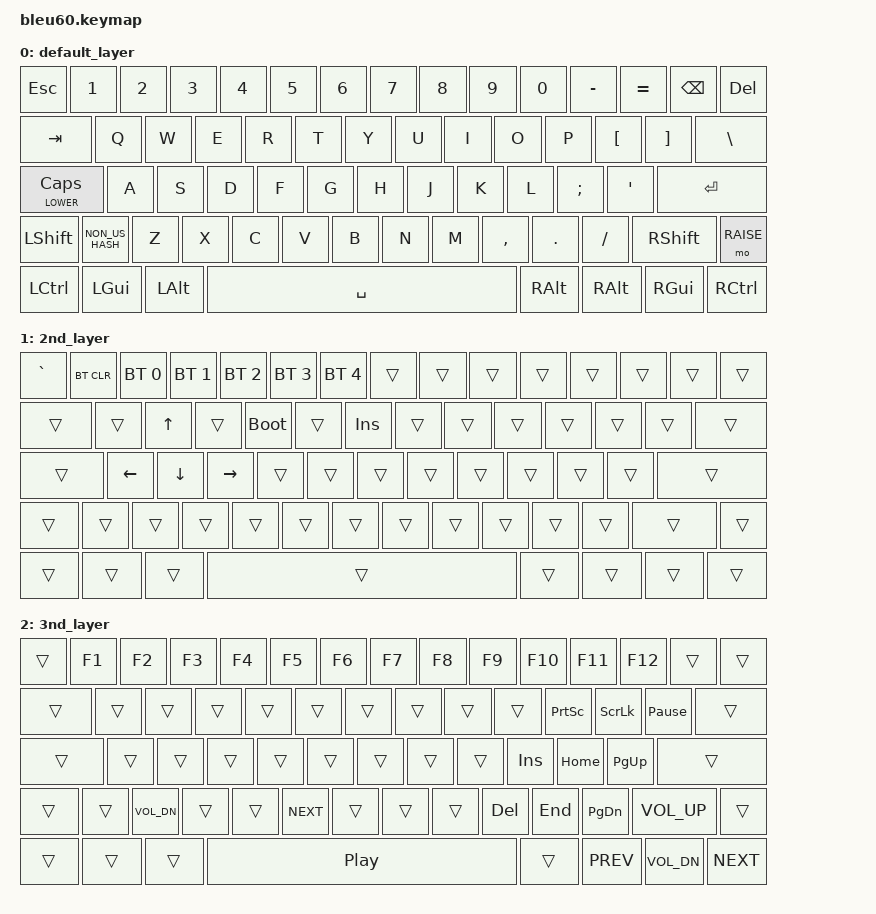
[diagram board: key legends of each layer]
/*
 * Copyright (c) 2020 The ZMK Contributors
 *
 * SPDX-License-Identifier: MIT
 */

#include <behaviors.dtsi>
#include <dt-bindings/zmk/keys.h>
#include <dt-bindings/zmk/bt.h>
#define DEFAULT 0
#define LOWER   1
#define RAISE   2
/ {
	keymap {
		compatible = "zmk,keymap";
		
		default_layer {
// ------------------------------------------------------------------------------------------
// | ESC |  1  |  2  |  3  |  4  |  5  |  6  |  7  |  8  |  9  |  0  |  -  |  =  | BSPC |DEL|
// | TAB  |  Q  |  W  |  E  |  R  |  T  |  Y  |  U  |  I  |  O  |  P  |  [  |  ]  |   "|"   |
// | CAPS  |  A  |  S  |  D  |  F  |  G  |  H  |  J  |  K  |  L  |  ;  |  '  |     ENTER    |
// |  SHIFT  |  Z  |  X  |  C  |  V  |  B  |  N  |  M  |  ,  |  .  |  /  |      SHIFT       |
// |  CTL  |  WIN  |  ALT  |            SPACE              |  ALT  |  WIN  |  MO(1) |  CTL  |
// ------------------------------------------------------------------------------------------
			bindings = <
	&kp ESC         &kp N1     &kp N2   &kp N3 &kp N4 &kp N5    &kp N6 &kp N7 &kp N8 &kp N9    &kp N0   &kp MINUS &kp EQUAL &kp BSPC &kp DEL
	&kp TAB        &kp Q      &kp W    &kp E  &kp R  &kp T     &kp Y  &kp U  &kp I  &kp O     &kp P    &kp LBKT  &kp RBKT  &kp BSLH
	&lt LOWER CLCK &kp A      &kp S    &kp D  &kp F  &kp G     &kp H  &kp J  &kp K  &kp L     &kp SEMI &kp SQT             &kp RET
	&kp LSHFT &kp NON_US_HASH &kp Z    &kp X  &kp C  &kp V     &kp B  &kp N  &kp M  &kp COMMA &kp DOT  &kp FSLH  &kp RSHFT &mo RAISE
	&kp LCTRL &kp LGUI	  &kp LALT               &kp SPACE                      &kp RALT  &kp RALT &kp RGUI   &kp RCTRL
			>;
		};
		
		2nd_layer {
// ------------------------------------------------------------------------------------------
// | boot | BT CLR | BT1 | BT2 | BT3 | BT4 | BT5 | TRNS | TRNS | TRNS | TRNS | TRNS | TRNS |  TRNS  |
// | TRNS | TRNS |  UP  | TRNS | TRNS | TRNS | TRNS | TRNS | TRNS | TRNS | TRNS | TRNS | TRNS | TRNS |
// | TRNS | LEFT | DOWN | RGHT | TRNS | TRNS | TRNS | TRNS | TRNS | TRNS | TRNS | TRNS | TRNS |
// | TRNS | TRNS | TRNS | TRNS | TRNS | TRNS | TRNS | TRNS | TRNS | TRNS | TRNS | TRNS |
// | TRNS  | TRNS  |  TRNS |             TRNS              | TRNS  |  TRNS |  TRNS | TRNS  |
// ------------------------------------------------------------------------------------------
			bindings = <
	&kp GRAVE   &bt BT_CLR &bt BT_SEL 0    &bt BT_SEL 1    &bt BT_SEL 2    &bt BT_SEL 3    &bt BT_SEL 4    &trans &trans &trans &trans &trans &trans &trans &trans 
	&trans      &trans     &kp UP          &trans          &bootloader     &trans          &kp INS         &trans &trans &trans &trans &trans &trans &trans 
	&trans      &kp LEFT   &kp DOWN        &kp RIGHT       &trans          &trans          &trans          &trans &trans &trans &trans &trans &trans 
	&trans      &trans     &trans          &trans          &trans          &trans          &trans          &trans &trans &trans &trans &trans &trans &trans    
	&trans      &trans     &trans                                                          &trans                               &trans &trans &trans &trans   
			>;
		};
		
		3nd_layer {
// ------------------------------------------------------------------------------------------
// | boot | F1 | F2 | F3 | F4 | F5 | F6 | F7 | F8 | F9 | F10 | F11 | F12 |  TRNS  |
// | TRNS | TRNS | TRNS | TRNS | TRNS | TRNS | TRNS | TRNS | TRNS | TRNS | TRNS | TRNS | TRNS | TRNS |
// | TRNS | TRNS | TRNS | TRNS | TRNS | TRNS | TRNS | TRNS | TRNS | TRNS | TRNS | TRNS | TRNS |
// | TRNS | TRNS | VOL_DN | VOL_UP | PREV | NEXT | TRNS | TRNS | TRNS | TRNS | TRNS | TRNS |
// | TRNS  | TRNS  |  TRNS |             PLAY/PAUS              | TRNS  |  TRNS |  TRNS | TRNS  |
// ------------------------------------------------------------------------------------------
			bindings = <
	&trans      &kp F1     &kp F2          &kp F3          &kp F4          &kp F5          &kp F6          &kp F7 &kp F8 &kp F9 &kp F10 &kp F11 &kp F12 &trans &trans 
	&trans      &trans     &trans          &trans          &trans          &trans          &trans          &trans &trans &trans &kp PSCRN &kp SLCK &kp PAUSE_BREAK &trans 
	&trans      &trans     &trans          &trans          &trans          &trans          &trans          &trans &trans &kp INS   &kp HOME &kp PG_UP &trans 
	&trans      &trans     &kp C_VOL_DN    &trans          &trans          &kp C_NEXT      &trans          &trans &trans &kp DEL   &kp END  &kp PG_DN &kp C_VOL_UP &trans    
	&trans      &trans     &trans                                                          &kp C_PP                                &trans   &kp C_PREV &kp C_VOL_DN &kp K_NEXT   
			>;
		};
	};
};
